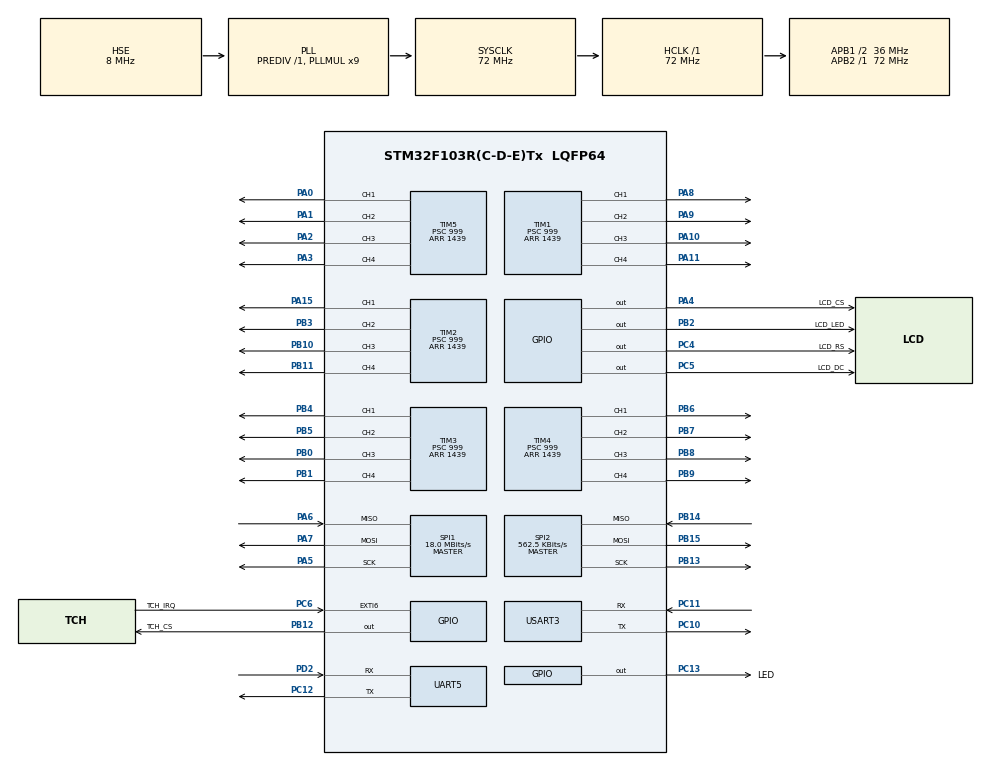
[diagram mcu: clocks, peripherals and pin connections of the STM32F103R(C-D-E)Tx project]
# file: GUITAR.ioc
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Mcu.Family=STM32F1
Mcu.Name=STM32F103R(C-D-E)Tx
Mcu.Package=LQFP64
NVIC.EXTI9_5_IRQn=true\:0\:0\:false\:false\:true\:true\:true\:true
NVIC.PriorityGroup=NVIC_PRIORITYGROUP_4
NVIC.TIM1_UP_IRQn=true\:0\:0\:false\:false\:true\:true\:true\:true
NVIC.TIM2_IRQn=true\:0\:0\:false\:false\:true\:true\:true\:true
NVIC.TIM3_IRQn=true\:0\:0\:false\:false\:true\:true\:true\:true
NVIC.TIM4_IRQn=true\:0\:0\:false\:false\:true\:true\:true\:true
NVIC.TIM5_IRQn=true\:0\:0\:false\:false\:true\:true\:true\:true
NVIC.TIM6_IRQn=true\:15\:0\:false\:false\:true\:false\:true\:true
NVIC.TimeBase=TIM6_IRQn
NVIC.TimeBaseIP=TIM6
NVIC.UART5_IRQn=true\:0\:0\:false\:false\:true\:true\:true\:true
NVIC.USART3_IRQn=true\:0\:0\:false\:false\:true\:true\:true\:true
PA0-WKUP.Signal=S_TIM5_CH1
PA1.Signal=S_TIM5_CH2
PA10.Signal=S_TIM1_CH3
PA11.Signal=S_TIM1_CH4
PA13.Mode=Serial_Wire
PA13.Signal=SYS_JTMS-SWDIO
PA14.Mode=Serial_Wire
PA14.Signal=SYS_JTCK-SWCLK
PA15.Signal=S_TIM2_CH1_ETR
PA2.Signal=S_TIM5_CH3
PA3.Signal=S_TIM5_CH4
PA4.GPIO_Label=LCD_CS
PA4.Signal=GPIO_Output
PA5.Mode=Full_Duplex_Master
PA5.Signal=SPI1_SCK
PA6.Mode=Full_Duplex_Master
PA6.Signal=SPI1_MISO
PA7.Mode=Full_Duplex_Master
PA7.Signal=SPI1_MOSI
PA8.Signal=S_TIM1_CH1
PA9.Signal=S_TIM1_CH2
PB0.Signal=S_TIM3_CH3
PB1.Signal=S_TIM3_CH4
PB10.Signal=S_TIM2_CH3
PB11.Signal=S_TIM2_CH4
PB12.GPIO_Label=TCH_CS
PB12.Signal=GPIO_Output
PB13.Mode=Full_Duplex_Master
PB13.Signal=SPI2_SCK
PB14.Mode=Full_Duplex_Master
PB14.Signal=SPI2_MISO
PB15.Mode=Full_Duplex_Master
PB15.Signal=SPI2_MOSI
PB2.GPIO_Label=LCD_LED
PB2.Signal=GPIO_Output
PB3.Signal=S_TIM2_CH2
PB4.Signal=S_TIM3_CH1
PB5.Signal=S_TIM3_CH2
PB6.Signal=S_TIM4_CH1
PB7.Signal=S_TIM4_CH2
PB8.Signal=S_TIM4_CH3
PB9.Signal=S_TIM4_CH4
PC10.Mode=Asynchronous
PC10.Signal=USART3_TX
PC11.Mode=Asynchronous
PC11.Signal=USART3_RX
PC12.Mode=Asynchronous
PC12.Signal=UART5_TX
PC13-TAMPER-RTC.GPIO_Label=LED
PC13-TAMPER-RTC.Signal=GPIO_Output
PC4.GPIO_Label=LCD_RS
PC4.Signal=GPIO_Output
PC5.GPIO_Label=LCD_DC
PC5.Signal=GPIO_Output
PC6.GPIO_Label=TCH_IRQ
PC6.GPIO_ModeDefaultEXTI=GPIO_MODE_IT_FALLING
PC6.GPIO_PuPd=GPIO_PULLUP
PC6.Signal=GPXTI6
PD0-OSC_IN.Mode=HSE-External-Oscillator
PD0-OSC_IN.Signal=RCC_OSC_IN
PD1-OSC_OUT.Mode=HSE-External-Oscillator
PD1-OSC_OUT.Signal=RCC_OSC_OUT
PD2.Mode=Asynchronous
PD2.Signal=UART5_RX
ProjectManager.HeapSize=0x200
ProjectManager.StackSize=0x400
ProjectManager.TargetToolchain=Makefile
RCC.AHBFreq_Value=72000000
RCC.APB1CLKDivider=RCC_HCLK_DIV2
RCC.APB1Freq_Value=36000000
RCC.APB1TimFreq_Value=72000000
RCC.APB2Freq_Value=72000000
RCC.APB2TimFreq_Value=72000000
RCC.HCLKFreq_Value=72000000
RCC.PLLMUL=RCC_PLL_MUL9
RCC.PLLSourceVirtual=RCC_PLLSOURCE_HSE
RCC.SYSCLKFreq_VALUE=72000000
RCC.SYSCLKSource=RCC_SYSCLKSOURCE_PLLCLK
RCC.USBFreq_Value=72000000
SH.S_TIM1_CH1.0=TIM1_CH1,PWM Generation1 CH1
SH.S_TIM1_CH2.0=TIM1_CH2,PWM Generation2 CH2
SH.S_TIM1_CH3.0=TIM1_CH3,PWM Generation3 CH3
SH.S_TIM1_CH4.0=TIM1_CH4,PWM Generation4 CH4
SH.S_TIM2_CH1_ETR.0=TIM2_CH1,PWM Generation1 CH1
SH.S_TIM2_CH2.0=TIM2_CH2,PWM Generation2 CH2
SH.S_TIM2_CH3.0=TIM2_CH3,PWM Generation3 CH3
SH.S_TIM2_CH4.0=TIM2_CH4,PWM Generation4 CH4
SH.S_TIM3_CH1.0=TIM3_CH1,PWM Generation1 CH1
SH.S_TIM3_CH2.0=TIM3_CH2,PWM Generation2 CH2
SH.S_TIM3_CH3.0=TIM3_CH3,PWM Generation3 CH3
SH.S_TIM3_CH4.0=TIM3_CH4,PWM Generation4 CH4
SH.S_TIM4_CH1.0=TIM4_CH1,PWM Generation1 CH1
SH.S_TIM4_CH2.0=TIM4_CH2,PWM Generation2 CH2
SH.S_TIM4_CH3.0=TIM4_CH3,PWM Generation3 CH3
SH.S_TIM4_CH4.0=TIM4_CH4,PWM Generation4 CH4
SH.S_TIM5_CH1.0=TIM5_CH1,PWM Generation1 CH1
SH.S_TIM5_CH2.0=TIM5_CH2,PWM Generation2 CH2
SH.S_TIM5_CH3.0=TIM5_CH3,PWM Generation3 CH3
SH.S_TIM5_CH4.0=TIM5_CH4,PWM Generation4 CH4
SPI1.BaudRatePrescaler=SPI_BAUDRATEPRESCALER_4
SPI1.CalculateBaudRate=18.0 MBits/s
SPI1.Direction=SPI_DIRECTION_2LINES
SPI1.Mode=SPI_MODE_MASTER
SPI1.VirtualType=VM_MASTER
SPI2.BaudRatePrescaler=SPI_BAUDRATEPRESCALER_64
SPI2.CalculateBaudRate=562.5 KBits/s
SPI2.Direction=SPI_DIRECTION_2LINES
SPI2.Mode=SPI_MODE_MASTER
SPI2.VirtualType=VM_MASTER
TIM1.Channel-PWM\ Generation1\ CH1=TIM_CHANNEL_1
TIM1.Channel-PWM\ Generation2\ CH2=TIM_CHANNEL_2
TIM1.Channel-PWM\ Generation3\ CH3=TIM_CHANNEL_3
TIM1.Channel-PWM\ Generation4\ CH4=TIM_CHANNEL_4
TIM1.Period=1439
TIM1.Prescaler=999
TIM2.Channel-PWM\ Generation1\ CH1=TIM_CHANNEL_1
TIM2.Channel-PWM\ Generation2\ CH2=TIM_CHANNEL_2
TIM2.Channel-PWM\ Generation3\ CH3=TIM_CHANNEL_3
TIM2.Channel-PWM\ Generation4\ CH4=TIM_CHANNEL_4
TIM2.Period=1439
TIM2.Prescaler=999
TIM3.Channel-PWM\ Generation1\ CH1=TIM_CHANNEL_1
TIM3.Channel-PWM\ Generation2\ CH2=TIM_CHANNEL_2
TIM3.Channel-PWM\ Generation3\ CH3=TIM_CHANNEL_3
TIM3.Channel-PWM\ Generation4\ CH4=TIM_CHANNEL_4
TIM3.Period=1439
TIM3.Prescaler=999
TIM4.Channel-PWM\ Generation1\ CH1=TIM_CHANNEL_1
TIM4.Channel-PWM\ Generation2\ CH2=TIM_CHANNEL_2
TIM4.Channel-PWM\ Generation3\ CH3=TIM_CHANNEL_3
TIM4.Channel-PWM\ Generation4\ CH4=TIM_CHANNEL_4
TIM4.Period=1439
TIM4.Prescaler=999
TIM5.Channel-PWM\ Generation1\ CH1=TIM_CHANNEL_1
TIM5.Channel-PWM\ Generation2\ CH2=TIM_CHANNEL_2
TIM5.Channel-PWM\ Generation3\ CH3=TIM_CHANNEL_3
TIM5.Channel-PWM\ Generation4\ CH4=TIM_CHANNEL_4
TIM5.Period=1439
TIM5.Prescaler=999
UART5.VirtualMode=Asynchronous
USART3.VirtualMode=VM_ASYNC
VP_SYS_VS_tim6.Mode=TIM6
VP_TIM1_VS_ClockSourceINT.Mode=Internal
VP_TIM2_VS_ClockSourceINT.Mode=Internal
VP_TIM3_VS_ClockSourceINT.Mode=Internal
VP_TIM4_VS_ClockSourceINT.Mode=Internal
VP_TIM5_VS_ClockSourceINT.Mode=Internal
board=custom

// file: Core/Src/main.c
/* USER CODE BEGIN Header */
/**
  ******************************************************************************
  * @file           : main.c
  * @brief          : Main program body
  ******************************************************************************
  * @attention
  *
  * Copyright (c) 2022 STMicroelectronics.
  * All rights reserved.
  *
  * This software is licensed under terms that can be found in the LICENSE file
  * in the root directory of this software component.
  * If no LICENSE file comes with this software, it is provided AS-IS.
  *
  ******************************************************************************
  */
/* USER CODE END Header */
#include "main.h"
#include "spi.h"
#include "tim.h"
#include "usart.h"
#include "gpio.h"

/* USER CODE BEGIN Includes */
#include "servo.h"
#include "lcd.h"
#include "touch.h"
#include "stdbool.h"
#include "stdlib.h"
#include "stdio.h"
#include "string.h"
/* USER CODE END Includes */

/* USER CODE BEGIN PV */

/* Bài 1: Một nhà */
uint32_t Bai1[] = {
  0b00011111000000010000001000000010,
  0b00100001000000100010010000000000,
  0b00111110000000000000001100000010, ///////
  0b00110001000000001000000100000010,
  0b00101101000000010000001000000000,
  0b00101001000000000000000000000000,
  0b00101000000000000000000000000000,
  0b00101001000000000000000000000000,
  0b00101000000000000000000000000000,
  0b00101010000000000000000000000010,
  0b00000100000000100000000000000000,
  0b00000110000000000000000000000000,
  0b00000100000000000000000000000000,
  0b00000000000000000010000000000000, ////
  0b00000010000000000000000000000010,
  0b00000000000000000000000000000000,
  0b00000010000000000000000000000000,
  0b00010100000000000000000010000000,
  0b00010000000000000000000100000000,
  0b00010010000000000000000000000010,
  0b00010000000000000000000000000010,
  0b00010010000000000000000000000010,
  0b00010110000000000000000000000000,
  0b00011010000000001000000100000000,
  0b00011000000000000000000000000010,
  0b00011100000000000000000010000000,
  0b00011101000000000000000000000000,
  0b00011100000000000000000000000000,
  0b00011110000000000010000000000000,
  // 0b00011100000000000000000000000010,
  // 0b00001010000000010000000000000010,
  // 0b00000010000000000000001000000000,
  // 0b00000110000000000000000000000000,
  // 0b00000111000000000000000000000000,
  // 0b00000110000000000000000000000000,
  // 0b00000111000000000000000000000000,
  // 0b00000101000000000000000000000010,
  // 0b00101011000000100000000000000000,
  // 0b00101001000000000000000000000000,
  // 0b00100001000000000000000000000000,
  // 0b00100011000000000010000000000000,
  // 0b00100001000000000010000000000000,
  // 0b00100011000000000010000000000000,
  // 0b00100001000000000010000000000000,
  // 0b00110010000000000000000000000010,
  // 0b00110011000000000001000000000000,
  // 0b00110010000000000000000000000000,
  // 0b00111010000000000000001000000000,
  // 0b00111011000000000000000000000000,
  // 0b00111010000000000000000000000000,
  // 0b00111000000000000000000000000010,
  // 0b00111100000000000000000000000000,
  // 0b00110100000000001000000000000000,
  // 0b00110000000000000000000100000000,
  // 0b00110001000000000000000000000000,
  // 0b00110011000000000010000000000000,
  // 0b00110001000000000010000000000000,
  // 0b00110011000000000000000000000010,
  // 0b00101101000000010000001000000010,
  // 0b00111101000000010000000000000000,///
  // 0b00110101000000000000001000000000,
  // 0b00111101000000000000001000000000, //
  // 0b00110101000000000000001000000000,
  // 0b00111101000000000000001000000000,
  // 0b00110101000000000000001000000000,
  // 0b00111101000000000000000000000000,
  // 0b00010101000000100000000000000000,
  // 0b00110101000000100000000000000000,
  // 0b00111101000000000000000000000000,
  // 0b00101101000000010000000000000000,
  // 0b00101001000000000000000000000000,
  // 0b00101101000000000000000000000000,
  // 0b00100101000000000000001000000000,
  // 0b00110101000000010000000000000000,
  // 0b00000101000000000000000000000000,
  // 0b00010101000000000000000000000000,
  // 0b00011101000000000000000000000000,
  // 0b00010101000000000000001000000000,
  // 0b00011101000000000000000000000000,
  // 0b00010101000000000000000000000000,
  // 0b00011101000000000000001000000000,
  // 0b00010101000000000000000000000000,
  // 0b00000101000000010000000000000000,
  // 0b00101101000000000000001000100000,
  // 0b00100101000000001000000000000000,
  // 0b00101101000000000000001000000000,
  // 0b00100101000000000000001000000000,
  // 0b00110101000000000000010000000000,
  // 0b00100101000000010000000000000000,
  // 0b00110101000000010000000000000000,
  // 0b00100101010000000000000000000000,
  // 0b00111011000000010000001000000010,
  // 0b00101011000000010000000000000000,
  // 0b00100011000000000000001000000000,
  // 0b00101011000000000000001000000000,
  // 0b00100011000000000000001000000000,
  // 0b00101011000000000000001000000000,
  // 0b00100011000000000000001000000000,
  // 0b00101011000000000000000000000000,
  // 0b00000011000000100000000000000000,
  // 0b00100011000000100000000000000000,
  // 0b00101011000000000000000000000000,
  // 0b00100011000000000000000000000000,
  // 0b00100111000000000000000000000000,
  // 0b00100011000000000000000000000000,
  // 0b00100111000000000000000100000000,
  // 0b00100011000000000000000000000000,
  // 0b00100111000000000000000100000000,
  // 0b00001111100000000000001000000000,
  // 0b00001011000000000000000000000000,
  // 0b00011011000000010000000000000000
};

// /* Bài 2: Love story */
// uint32_t Bai2[] =
// {
//   0b00001000001000000000000000000000,
//   0b00001100000000000000000100000000,
//   0b00001101000000000000000000000000,
//   0b00001111000000000010000000000000,
//   0b00001110000000000000000000000000,
//   0b00001100000000000010000000000000,
//   0b00001000000000000000000100000000,
//   0b00001010000000000010000000000000,
//   0b00000010001000000000000000000000,
//   0b00000110000000000000000100000000,
//   0b00000111000000000000000000000000,
//   0b00000101000000000010000000000000,
//   0b00000100000000000000000000000000,
//   0b00000000000000000010000000000000,
//   0b00000100000000000000000100000000,
//   0b00000110000000000010000000000000,
//   0b00001110000000000000001000000000,
//   0b00001010000000000000000100000000,
//   0b00001011000000000000000000000000,
//   0b00001001000000000010000000000000,
//   0b00001000000000000000000000000000,
//   0b00001010000000000010000000000000,
//   0b00001110000000000000000100000000,
//   0b00001100000000000010000000000000,
//   0b00000100000000000000001000000000,
//   0b00000000000000000000000100000000,
//   0b00000001000000000000000000000000,
//   0b00000011000000000010000000000000,
//   0b00000010000000000000000000000000,
//   0b00000000000000000010000000000000,
//   0b00000100000000000000000100000000,
//   0b00000110000000000010000000000000,
//   0b00001110001000000000000000000000,
//   0b00001010000100000000000000000000,
//   0b00001011000000000000000000000000,
//   0b00001001000000000010000000000000,
//   0b00001000000000000000000000000000,
//   0b00001010000000000010000000000000,
//   0b00001110000000000000000100000000,
//   0b00001100000000000010000000000000,
//   0b00000100001000000000000000000000,
//   0b00000000000100000000000000000000,
//   0b00000001000000000000000000000000,
//   0b00000011000000000010000000000000,
//   0b00000010000000000000000000000000,
//   0b00000000000000000010000000000000,
//   0b00000100000000000000000100000000,
//   0b00000110000000000010000000000000,
//   0b00010110000000000000000000010000, //// not danh o khoang 5 ...
//   0b00010010000000000000000100000000,
//   0b00010011000000000000000000000000,
//   0b00010001000000000010000000000000,
//   0b00010000000000000000000000000000,
//   0b00010010000000000010000000000000,
//   0b00010110000100000000000000000000,
//   0b00010100000000000010000000000000,
//   0b00000100000000000000000000010000,
//   0b00000000000000000000000100000000,
//   0b00000001000000000000000000000000,
//   0b00000011000000000010000000000000,
//   0b00000010000000000000000000000000,
//   0b00000000000000000010000000000000,
//   0b00000100000100000000000000000000,
//   0b00000110000000000010000000000000,
//   0b00001100000000000010000000000000,
//   0b00001000000000000000000100000000,
//   0b00001010000000000010000000000000,
//   0b00001110000000000000000100000000,
//   0b00000100000000000010000000000000,
//   0b00000000000000000000000100000000,
//   0b00000010000000000010000000000000,
//   0b00001000000000000000000010000000,
//   0b00001010000000000010000000000000,
//   0b00001110000000000000000100000000,
//   0b00001111000000000000000000000000,
//   0b00000111000000000000000000000000,
//   0b00000101000000000010000000000000,
//   0b00000001000000000000000100000000,
//   0b00000011000000000010000000000000,
//   0b00100001000000100000000010000000,
//   0b00100011000000000010000000000000,
//   0b00100111000000000000000000000000,
//   0b00100101000000000010000000000000,
//   0b00000101000000100000000000000000,
//   0b00000001000000000000000000000000,
//   0b00000011000000000010000000000000,
//   0b00000001000000000010000000000000,
//   0b00100011000000100000000010000000,
//   0b00100001000000000010000000000000,
//   0b00100101000000000000000100000000,
//   0b00100100000000000000000000000000,
//   0b00000100000000100000000000000000,
//   0b00000110000000000010000000000000,
//   0b00000100000000000000000010000000,
//   0b00000110000000000010000000000000,
//   0b00010100000000000000010000000000,
//   0b00011100001000000000000000000000,
//   0b00011101000000000000000000000000,
//   0b00011111000000000010000000000000,
//   0b00011110000000000000000000000000,
//   0b00011100000000000010000000000000,
//   0b00011000000100000000000000000000,
//   0b00011010000000000010000000000000, // tamj hets o thu 13
// };

uint32_t const Song0[] = {
  //----654321654321654321654321654321
    0b00000000000000000000000000000000,
    0b00000001000000000000000000000000,
    0b00000000000000000000000000000001,
    0b00000001000000000000000000000100,
    0b00000011000000000010000000000000,
  //----654321654321654321654321654321
    0b00000111000000000000000000000000,
    0b00001111000000000000000000000000,
    0b00011111000000000000000000010000,
    0b00111111000000000000000000000000,
    0b00011111000000100000000000000000,
  //----654321654321654321654321654321
    0b00000000000000000000000000000000,
    0b00111010000000000000000100010000,
    0b00101100000000010000000010000000,
    0b00110111000000000000000100010100,
    0b00010010000000000100000000000001,
  //----654321654321654321654321654321
    0b00000000000000000000000000000000,
    0b00101001000000100000000000000100,
    0b00101011000000000000000000000000,
    0b00111001000000000000000001000000,
    0b00101011000000000000000100010000,

  //----654321654321654321654321654321    new from Truong with love
    0b00100011000000001000000000000000,
    0b00000111000000000100000000100000,
    0b00010111000000000000010000000000,
    0b00010101000000000000000010000000,
    0b00110001000000000000000000100100,
  //----654321654321654321654321654321
    0b00111001000000000000000000000000,
    0b00111000000000000001000000000000,
    0b00101000000000000000010000000000,
    0b00010000000000100000010000001000,
    0b00010101000000000101000000000000,
  //----654321654321654321654321654321
    0b00000101000000000000000000000000,
    0b00100101000000100000000000000000,
    0b00110101000000000000010000000000,
    0b00110001000000000000000000000100,
    0b00111011000000001000000010000000,
  //----654321654321654321654321654321
    0B00101011000000000000000000010000,
    0b00101111000000000000000000000100,
    0b00101101000000000010000000000000,
    0b00101001000000000100000000000000,
    0b00100000000000001000000000000001,
  //----654321654321654321654321654321
    0b00110000000000000000010000000000,
    0b00010000000000000000000000100000,
    0b00000000000000000000000000000000,
    0b00000010000000000000000010000000,
    0b00011010000000001000000000010000,
  //----654321654321654321654321654321
    0b00111010000000000000000000000000,
    0b00111110000000000000000000000100,
    0b00111111000000000001000000000000,
    0b00111011000000000000000000000100,
    0b00101011000000000000010000000000,
  //----654321654321654321654321654321
    0b00100011000000000000000000000000,
    0b00100010000000100000000000000000,
    0b00100110000000000100000000000000,
    0b00110110000000010000000000000000,
    0b00111111000000001000000000000001
};

/* Define for 6 servo gay */
servo_t servo_w_1 = {
    &htim1,
    TIM_CHANNEL_1
  };
servo_t servo_w_2 = {
    &htim1,
    TIM_CHANNEL_2
  };
servo_t servo_w_3 = {
    &htim1,
    TIM_CHANNEL_3
  };
servo_t servo_w_4 = {
    &htim1,
    TIM_CHANNEL_4
  };
servo_t servo_w_5 = {
    &htim2,
    TIM_CHANNEL_1
  };
servo_t servo_w_6 = {
    &htim2,
    TIM_CHANNEL_2
  };

/*Define for 24 servo nhan */

// Khoang 1
servo_t servo_k_1_1 = {
  &htim2,
  TIM_CHANNEL_4
};
servo_t servo_k_1_2 = {
  &htim2,
  TIM_CHANNEL_3
};
servo_t servo_k_1_3 = {
  &htim3,
  TIM_CHANNEL_4
};
servo_t servo_k_1_4 = {
  &htim3,
  TIM_CHANNEL_3
};
servo_t servo_k_1_5 = {
  &htim3,
  TIM_CHANNEL_2
};
servo_t servo_k_1_6 = {
  &htim3,
  TIM_CHANNEL_1
};

// Khoang 2
servo_t servo_k_2_1 = {
  &htim5,
  TIM_CHANNEL_2
};
servo_t servo_k_2_2 = {
  &htim5,
  TIM_CHANNEL_1
};
servo_t servo_k_2_3 = {
  &htim4,
  TIM_CHANNEL_4
};
servo_t servo_k_2_4 = {
  &htim4,
  TIM_CHANNEL_3
};
servo_t servo_k_2_5 = {
  &htim4,
  TIM_CHANNEL_2
};
servo_t servo_k_2_6 = {
  &htim4,
  TIM_CHANNEL_1
};

uint8_t RX3_CHAR = '\0';
int RX3_INX = 0;
uint8_t RX3_BUF[10] = {0};
uint8_t RX3_DATA = '\0';
volatile bool isCommand_OK = true;

uint32_t timeLoop0 = 200;
uint32_t timeLoop1 = 500;
uint32_t timeLoop2 = 1000;
uint32_t timeLoop3 = 1000;

/* USER CODE END PV */

void SystemClock_Config(void);
/* USER CODE BEGIN PFP */

void setupServo(void);
void resetServo(void);

void K1_test(void);
void K2_test(void);
void K3_test(void);
void K4_test(void);

void W_test(void);

void Song0_test(void);

void Song1_test(void);

void playSong(const uint32_t* Song, uint32_t len);

void HAL_UART_RxCpltCallback(UART_HandleTypeDef *huart)
{
  if (huart == &huart3)
  {
    if (RX3_CHAR != '\0')
    {
      RX3_BUF[RX3_INX++] = RX3_CHAR;
      if (RX3_CHAR == 0x03)
      {
        RX3_DATA = RX3_BUF[RX3_INX - 2];
        RX3_INX = 0;
        RX3_CHAR = '\0';
        memset(RX3_BUF, '\0', sizeof(RX3_BUF));
        isCommand_OK = true;
      }
      RX3_CHAR = '\0';
    }
  }
  HAL_UART_Receive_IT(&huart3, &RX3_CHAR, 1);
}

void HAL_GPIO_EXTI_Callback(uint16_t GPIO_Pin)
{
  if (GPIO_Pin == TCH_IRQ_Pin)
  {

  }
}

/* USER CODE END PFP */

/* USER CODE BEGIN 0 */
bool sendCommand(uint8_t fret, uint8_t wire, uint8_t state)
{
  uint8_t data2send[3];
  data2send[0] = 0xC0;
  data2send[1] = (uint8_t)((fret << 4) | (state << 3) | wire);
  data2send[2] = 0x03;
  RX3_CHAR = '\0';
  isCommand_OK = false;

  HAL_UART_Transmit(&huart3, data2send, 3, 200);

  uint32_t TickStart = HAL_GetTick();
  while (!((isCommand_OK == true) && (RX3_DATA == data2send[1])) && ((HAL_GetTick() - TickStart) <= 2000));

  if (RX3_DATA != data2send[1])
  {
    return false;
  }
  return true;
}
/* USER CODE END 0 */

int main(void)
{

  /* MCU Configuration--------------------------------------------------------*/

  /* Reset of all peripherals, Initializes the Flash interface and the Systick. */
  HAL_Init();

  /* Configure the system clock */
  SystemClock_Config();

  /* Initialize all configured peripherals */
  MX_GPIO_Init();
  MX_SPI1_Init();
  MX_SPI2_Init();
  MX_TIM1_Init();
  MX_TIM2_Init();
  MX_TIM3_Init();
  MX_TIM4_Init();
  MX_TIM5_Init();
  MX_UART5_Init();
  MX_USART3_UART_Init();
  /* USER CODE BEGIN 2 */
  HAL_UART_Receive_IT(&huart3, &RX3_CHAR, 1);

  // ILI9341_Unselect();
  // ILI9341_TouchUnselect();
  // ILI9341_Init();
  // ILI9341_FillScreen(ILI9341_BLACK);

  // HAL_Delay(500);

  // ILI9341_FillScreen(ILI9341_WHITE);

  setupServo();

  /* USER CODE END 2 */

  /* Infinite loop */
  while (1)
  {

    /* USER CODE BEGIN 3 */

      // W_test();

      // K1_test();

      // K2_test();

      // K3_test();

      // K4_test();

      // Song0_test();

      // Song1_test();

      playSong(Song0, sizeof(Song0) / sizeof(uint32_t));

      HAL_Delay(timeLoop3);

      resetServo();

      HAL_Delay(timeLoop3);

  }
  /* USER CODE END 3 */
}

void SystemClock_Config(void)
{
  RCC_OscInitTypeDef RCC_OscInitStruct = {0};
  RCC_ClkInitTypeDef RCC_ClkInitStruct = {0};

  /** Initializes the RCC Oscillators according to the specified parameters
  * in the RCC_OscInitTypeDef structure.
  */
  RCC_OscInitStruct.OscillatorType = RCC_OSCILLATORTYPE_HSE;
  RCC_OscInitStruct.HSEState = RCC_HSE_ON;
  RCC_OscInitStruct.HSEPredivValue = RCC_HSE_PREDIV_DIV1;
  RCC_OscInitStruct.HSIState = RCC_HSI_ON;
  RCC_OscInitStruct.PLL.PLLState = RCC_PLL_ON;
  RCC_OscInitStruct.PLL.PLLSource = RCC_PLLSOURCE_HSE;
  RCC_OscInitStruct.PLL.PLLMUL = RCC_PLL_MUL9;
  if (HAL_RCC_OscConfig(&RCC_OscInitStruct) != HAL_OK)
  {
    Error_Handler();
  }

  /** Initializes the CPU, AHB and APB buses clocks
  */
  RCC_ClkInitStruct.ClockType = RCC_CLOCKTYPE_HCLK|RCC_CLOCKTYPE_SYSCLK
                              |RCC_CLOCKTYPE_PCLK1|RCC_CLOCKTYPE_PCLK2;
  RCC_ClkInitStruct.SYSCLKSource = RCC_SYSCLKSOURCE_PLLCLK;
  RCC_ClkInitStruct.AHBCLKDivider = RCC_SYSCLK_DIV1;
  RCC_ClkInitStruct.APB1CLKDivider = RCC_HCLK_DIV2;
  RCC_ClkInitStruct.APB2CLKDivider = RCC_HCLK_DIV1;

  if (HAL_RCC_ClockConfig(&RCC_ClkInitStruct, FLASH_LATENCY_2) != HAL_OK)
  {
    Error_Handler();
  }
}

/* USER CODE BEGIN 4 */

void resetServo(void)
{
  Set_servo_xp(&servo_w_1, W1_S1);
  Set_servo_xp(&servo_w_2, W2_S1);
  Set_servo_xp(&servo_w_3, W3_S1);
  Set_servo_xp(&servo_w_4, W4_S1);
  Set_servo_xp(&servo_w_5, W5_S1);
  Set_servo_xp(&servo_w_6, W6_S1);

  Set_servo_xp(&servo_k_1_1, K1_W1_RELEASE);
  Set_servo_xp(&servo_k_1_2, K1_W2_RELEASE);
  Set_servo_xp(&servo_k_1_3, K1_W3_RELEASE);
  Set_servo_xp(&servo_k_1_4, K1_W4_RELEASE);
  Set_servo_xp(&servo_k_1_5, K1_W5_RELEASE);
  Set_servo_xp(&servo_k_1_6, K1_W6_RELEASE);

  Set_servo_xp(&servo_k_2_1, K2_W1_RELEASE);
  Set_servo_xp(&servo_k_2_2, K2_W2_RELEASE);
  Set_servo_xp(&servo_k_2_3, K2_W3_RELEASE);
  Set_servo_xp(&servo_k_2_4, K2_W4_RELEASE);
  Set_servo_xp(&servo_k_2_5, K2_W5_RELEASE);
  Set_servo_xp(&servo_k_2_6, K2_W6_RELEASE);

  while(sendCommand(K3, W1, 0) == false);
  while(sendCommand(K3, W2, 0) == false);
  while(sendCommand(K3, W3, 0) == false);
  while(sendCommand(K3, W4, 0) == false);
  while(sendCommand(K3, W5, 0) == false);
  while(sendCommand(K3, W6, 0) == false);

}

void setupServo(void)
{
  Servo_Init(&servo_w_1, servo_w_1.htim, servo_w_1.channel);
  Set_servo_xp(&servo_w_1, W1_S1);
  Servo_Init(&servo_w_2, servo_w_2.htim, servo_w_2.channel);
  Set_servo_xp(&servo_w_2, W2_S1);
  Servo_Init(&servo_w_3, servo_w_3.htim, servo_w_3.channel);
  Set_servo_xp(&servo_w_3, W3_S1);
  Servo_Init(&servo_w_4, servo_w_4.htim, servo_w_4.channel);
  Set_servo_xp(&servo_w_4, W4_S1);
  Servo_Init(&servo_w_5, servo_w_5.htim, servo_w_5.channel);
  Set_servo_xp(&servo_w_5, W5_S1);
  Servo_Init(&servo_w_6, servo_w_6.htim, servo_w_6.channel);
  Set_servo_xp(&servo_w_6, W6_S1);

  Servo_Init(&servo_k_1_1, servo_k_1_1.htim, servo_k_1_1.channel);
  Set_servo_xp(&servo_k_1_1, K1_W1_RELEASE);
  Servo_Init(&servo_k_1_2, servo_k_1_2.htim, servo_k_1_2.channel);
  Set_servo_xp(&servo_k_1_2, K1_W2_RELEASE);
  Servo_Init(&servo_k_1_3, servo_k_1_3.htim, servo_k_1_3.channel);
  Set_servo_xp(&servo_k_1_3, K1_W3_RELEASE);
  Servo_Init(&servo_k_1_4, servo_k_1_4.htim, servo_k_1_4.channel);
  Set_servo_xp(&servo_k_1_4, K1_W4_RELEASE);
  Servo_Init(&servo_k_1_5, servo_k_1_5.htim, servo_k_1_5.channel);
  Set_servo_xp(&servo_k_1_5, K1_W5_RELEASE);
  Servo_Init(&servo_k_1_6, servo_k_1_6.htim, servo_k_1_6.channel);
  Set_servo_xp(&servo_k_1_6, K1_W6_RELEASE);

  Servo_Init(&servo_k_2_1, servo_k_2_1.htim, servo_k_2_1.channel);
  Set_servo_xp(&servo_k_2_1, K2_W1_RELEASE);
  Servo_Init(&servo_k_2_2, servo_k_2_2.htim, servo_k_2_2.channel);
  Set_servo_xp(&servo_k_2_2, K2_W2_RELEASE);
  Servo_Init(&servo_k_2_3, servo_k_2_3.htim, servo_k_2_3.channel);
  Set_servo_xp(&servo_k_2_3, K2_W3_RELEASE);
  Servo_Init(&servo_k_2_4, servo_k_2_4.htim, servo_k_2_4.channel);
  Set_servo_xp(&servo_k_2_4, K2_W4_RELEASE);
  Servo_Init(&servo_k_2_5, servo_k_2_5.htim, servo_k_2_5.channel);
  Set_servo_xp(&servo_k_2_5, K2_W5_RELEASE);
  Servo_Init(&servo_k_2_6, servo_k_2_6.htim, servo_k_2_6.channel);
  Set_servo_xp(&servo_k_2_6, K2_W6_RELEASE);
}

void K1_test(void)
{

  Set_servo_xp(&servo_k_1_1, K1_W1_PRESS);
  HAL_Delay(timeLoop1);
  Set_servo_xp(&servo_k_1_1, K1_W1_RELEASE);
  HAL_Delay(timeLoop2);

  Set_servo_xp(&servo_k_1_2, K1_W2_PRESS);
  HAL_Delay(timeLoop1);
  Set_servo_xp(&servo_k_1_2, K1_W2_RELEASE);
  HAL_Delay(timeLoop2);

  Set_servo_xp(&servo_k_1_3, K1_W3_PRESS);
  HAL_Delay(timeLoop1);
  Set_servo_xp(&servo_k_1_3, K1_W3_RELEASE);
  HAL_Delay(timeLoop2);

  Set_servo_xp(&servo_k_1_4, K1_W4_PRESS);
  HAL_Delay(timeLoop1);
  Set_servo_xp(&servo_k_1_4, K1_W4_RELEASE);
  HAL_Delay(timeLoop2);

  Set_servo_xp(&servo_k_1_5, K1_W5_PRESS);
  HAL_Delay(timeLoop1);
  Set_servo_xp(&servo_k_1_5, K1_W5_RELEASE);
  HAL_Delay(timeLoop2);

  Set_servo_xp(&servo_k_1_6, K1_W6_PRESS);
  HAL_Delay(timeLoop1);
  Set_servo_xp(&servo_k_1_6, K1_W6_RELEASE);
  HAL_Delay(timeLoop2);

}

void K2_test(void)
{

  Set_servo_xp(&servo_k_2_1, K2_W1_PRESS);
  HAL_Delay(timeLoop1);
  Set_servo_xp(&servo_k_2_1, K2_W1_RELEASE);
  HAL_Delay(timeLoop2);

  Set_servo_xp(&servo_k_2_2, K2_W2_PRESS);
  HAL_Delay(timeLoop1);
  Set_servo_xp(&servo_k_2_2, K2_W2_RELEASE);
  HAL_Delay(timeLoop2);

  Set_servo_xp(&servo_k_2_3, K2_W3_PRESS);
  HAL_Delay(timeLoop1);
  Set_servo_xp(&servo_k_2_3, K2_W3_RELEASE);
  HAL_Delay(timeLoop2);

  Set_servo_xp(&servo_k_2_4, K2_W4_PRESS);
  HAL_Delay(timeLoop1);
  Set_servo_xp(&servo_k_2_4, K2_W4_RELEASE);
  HAL_Delay(timeLoop2);

  Set_servo_xp(&servo_k_2_5, K2_W5_PRESS);
  HAL_Delay(timeLoop1);
  Set_servo_xp(&servo_k_2_5, K2_W5_RELEASE);
  HAL_Delay(timeLoop2);

  Set_servo_xp(&servo_k_2_6, K2_W6_PRESS);
  HAL_Delay(timeLoop1);
  Set_servo_xp(&servo_k_2_6, K2_W6_RELEASE);
  HAL_Delay(timeLoop2);

}

void K3_test(void)
{

  while(sendCommand(K3, W1, 1) == false);
  HAL_Delay(timeLoop1);
  while(sendCommand(K3, W1, 0) == false);
  HAL_Delay(timeLoop1);
  while(sendCommand(K3, W2, 1) == false);
  HAL_Delay(timeLoop1);
  while(sendCommand(K3, W2, 0) == false);
  HAL_Delay(timeLoop1);
  while(sendCommand(K3, W3, 1) == false);
  HAL_Delay(timeLoop1);
  while(sendCommand(K3, W3, 0) == false);
  HAL_Delay(timeLoop1);
  while(sendCommand(K3, W4, 1) == false);
  HAL_Delay(timeLoop1);
  while(sendCommand(K3, W4, 0) == false);
  HAL_Delay(timeLoop1);
  while(sendCommand(K3, W5, 1) == false);
  HAL_Delay(timeLoop1);
  while(sendCommand(K3, W5, 0) == false);
  HAL_Delay(timeLoop1);
  while(sendCommand(K3, W6, 1) == false);
  HAL_Delay(timeLoop1);
  while(sendCommand(K3, W6, 0) == false);
  HAL_Delay(timeLoop1);

}

void K4_test(void)
{

  while(sendCommand(K4, W1, 1) == false);
  HAL_Delay(timeLoop1);
  while(sendCommand(K4, W1, 0) == false);
  HAL_Delay(timeLoop1);
  while(sendCommand(K4, W2, 1) == false);
  HAL_Delay(timeLoop1);
  while(sendCommand(K4, W2, 0) == false);
  HAL_Delay(timeLoop1);
  while(sendCommand(K4, W3, 1) == false);
  HAL_Delay(timeLoop1);
  while(sendCommand(K4, W3, 0) == false);
  HAL_Delay(timeLoop1);
  while(sendCommand(K4, W4, 1) == false);
  HAL_Delay(timeLoop1);
  while(sendCommand(K4, W4, 0) == false);
  HAL_Delay(timeLoop1);
  while(sendCommand(K4, W5, 1) == false);
  HAL_Delay(timeLoop1);
  while(sendCommand(K4, W5, 0) == false);
  HAL_Delay(timeLoop1);
  while(sendCommand(K4, W6, 1) == false);
  HAL_Delay(timeLoop1);
  while(sendCommand(K4, W6, 0) == false);
  HAL_Delay(timeLoop1);

}

void W_test(void)
{
  Set_servo_xp(&servo_w_1, W1_S1);
  HAL_Delay(timeLoop1);
  Set_servo_xp(&servo_w_2, W2_S1);
  HAL_Delay(timeLoop1);
  Set_servo_xp(&servo_w_3, W3_S1);
  HAL_Delay(timeLoop1);
  Set_servo_xp(&servo_w_4, W4_S1);
  HAL_Delay(timeLoop1);
  Set_servo_xp(&servo_w_5, W5_S1);
  HAL_Delay(timeLoop1);
  Set_servo_xp(&servo_w_6, W6_S1);

  HAL_Delay(timeLoop3);

  Set_servo_xp(&servo_w_1, W1_S2);
  HAL_Delay(timeLoop1);
  Set_servo_xp(&servo_w_2, W2_S2);
  HAL_Delay(timeLoop1);
  Set_servo_xp(&servo_w_3, W3_S2);
  HAL_Delay(timeLoop1);
  Set_servo_xp(&servo_w_4, W4_S2);
  HAL_Delay(timeLoop1);
  Set_servo_xp(&servo_w_5, W5_S2);
  HAL_Delay(timeLoop1);
  Set_servo_xp(&servo_w_6, W6_S2);

  HAL_Delay(timeLoop3);
}

void Song0_test(void)
{

  /* test */
  setupServo();

  while(sendCommand(K3, W2, 1) == false);
  HAL_Delay(timeLoop1);
  Set_servo_xp(&servo_w_2, W2_S2);
  HAL_Delay(timeLoop1);
  while(sendCommand(K3, W2, 0) == false);
  HAL_Delay(timeLoop1);

  Set_servo_xp(&servo_w_3, W3_S2);
  HAL_Delay(timeLoop1);

  Set_servo_xp(&servo_k_2_3, K2_W3_PRESS);
  HAL_Delay(timeLoop1);
  Set_servo_xp(&servo_w_3, W3_S1);
  HAL_Delay(timeLoop1);
  Set_servo_xp(&servo_k_2_3, K2_W3_RELEASE);
  HAL_Delay(timeLoop1);

  while(sendCommand(K3, W3, 1) == false);
  HAL_Delay(timeLoop1);
  Set_servo_xp(&servo_w_3, W3_S2);
  HAL_Delay(timeLoop1);
  while(sendCommand(K3, W3, 0) == false);
  HAL_Delay(timeLoop1);

  Set_servo_xp(&servo_w_4, W4_S2);
  HAL_Delay(timeLoop1);

  Set_servo_xp(&servo_k_2_4, K1_W4_PRESS);
  HAL_Delay(timeLoop1);
  Set_servo_xp(&servo_w_4, W4_S1);
  HAL_Delay(timeLoop1);
  Set_servo_xp(&servo_k_2_4, K1_W4_RELEASE);
  HAL_Delay(timeLoop1);

  Set_servo_xp(&servo_w_5, W5_S2);
  HAL_Delay(timeLoop1);

  Set_servo_xp(&servo_k_1_5, K1_W5_PRESS);
  HAL_Delay(timeLoop1);
  Set_servo_xp(&servo_w_5, W5_S1);
  HAL_Delay(timeLoop1);
  Set_servo_xp(&servo_k_1_5, K1_W5_RELEASE);
  HAL_Delay(timeLoop1);

  while(sendCommand(K3, W5, 1) == false);
  HAL_Delay(timeLoop1);
  Set_servo_xp(&servo_w_5, W5_S2);
  HAL_Delay(timeLoop1);
  while(sendCommand(K3, W5, 0) == false);
  HAL_Delay(timeLoop1);

  Set_servo_xp(&servo_w_6, W6_S2);
  HAL_Delay(timeLoop1);

  setupServo();
}

void Song1_test(void)
{
  for(uint8_t i = 0; i < sizeof(Bai1) / sizeof(int); i++)
  {
    uint32_t bit = Bai1[i];

    // check khoang 1
    if((bit & 0x0000001) == 0) Set_servo_xp(&servo_k_1_1, K1_W1_RELEASE);            // bit 1 trong not nhac
    else Set_servo_xp(&servo_k_1_1, K1_W1_PRESS);

    // if(((bit >> 1) & 0x00000001)) Set_servo_xp(&servo_k_1_2, K1_W2_RELEASE);
    // else Set_servo_xp(&servo_k_1_2, K1_W2_PRESS);

    if(((bit >> 2) & 0x00000001) == 0) Set_servo_xp(&servo_k_1_3, K1_W3_RELEASE);
    else Set_servo_xp(&servo_k_1_3, K1_W3_PRESS);

    // if(((bit >> 3) & 0x00000001)) Set_servo_xp(&servo_k_1_4, K1_W4_RELEASE);
    // else Set_servo_xp(&servo_k_1_4, K1_W4_PRESS);

    if(((bit >> 4) & 0x00000001) == 0) Set_servo_xp(&servo_k_1_5, K1_W5_RELEASE);
    else Set_servo_xp(&servo_k_1_5, K1_W5_PRESS);

    if(((bit >> 5) & 0x00000001)) Set_servo_xp(&servo_k_1_6, K1_W6_RELEASE);
    else Set_servo_xp(&servo_k_1_6, K1_W6_PRESS);

    // check khoang 2
    if(((bit >> 6) & 0x00000001) == 0) Set_servo_xp(&servo_k_2_1, K2_W1_RELEASE);
    else Set_servo_xp(&servo_k_2_1, K2_W1_PRESS);

    if(((bit >> 7) & 0x00000001) == 0) Set_servo_xp(&servo_k_2_2, K2_W2_RELEASE);
    else Set_servo_xp(&servo_k_2_2, K2_W2_PRESS);

    // if(((bit >> 8) & 0x00000001)) Set_servo_xp(&servo_k_2_3, K2_W3_RELEASE);
    // else Set_servo_xp(&servo_k_2_3, K2_W3_PRESS);

    // if(((bit >> 9) & 0x00000001)) Set_servo_xp(&servo_k_2_4, K2_W4_RELEASE);
    // else Set_servo_xp(&servo_k_2_4, K2_W4_PRESS);

    if(((bit >> 10) & 0x00000001) == 0) Set_servo_xp(&servo_k_2_5, K2_W5_RELEASE);
    else Set_servo_xp(&servo_k_2_5, K2_W5_PRESS);

    // if(((bit >> 11) & 0x00000001)) Set_servo_xp(&servo_k_2_6, K2_W6_RELEASE);
    // else Set_servo_xp(&servo_k_2_6, K2_W6_PRESS);

    // check khoang 3
    if(((bit >> 12) & 0x00000001) == 0)
    {
      while(sendCommand(K3, W1, 0) == false);
    }
    else
    {
      while(sendCommand(K3, W1, 1) == false);
    }
    if(((bit >> 13) & 0x00000001) == 0)
    {
      while(sendCommand(K3, W2, 0) == false);
    }
    else
    {
      while(sendCommand(K3, W2, 1) == false);
    }
    if(((bit >> 14) & 0x00000001) == 0)
    {
      while(sendCommand(K3, W3, 0) == false);
    }
    else
    {
      while(sendCommand(K3, W3, 1) == false);
    }
    if(((bit >> 15) & 0x00000001) == 0)
    {
      while(sendCommand(K3, W4, 0) == false);
    }
    else
    {
      while(sendCommand(K3, W4, 1) == false);
    }
    if(((bit >> 16) & 0x00000001) == 0)
    {
      while(sendCommand(K3, W5, 0) == false);
    }
    else
    {
      while(sendCommand(K3, W5, 1) == false);
    }
    if(((bit >> 17) & 0x00000001) == 0)
    {
      while(sendCommand(K3, W6, 0) == false);
    }
    else
    {
      while(sendCommand(K3, W6, 1) == false);
    }

    // //check khoang 4
    // if(((bit >> 18) & 0x00000001) == 0)
    // {
    //   while(sendCommand(K4, W1, 0) == false);
    // }
    // else
    // {
    //   while(sendCommand(K4, W1, 1) == false);
    // }
    // if(((bit >> 19) & 0x00000001) == 0)
    // {
    //   while(sendCommand(K4, W2, 0) == false);
    // }
    // else
    // {
    //   while(sendCommand(K4, W2, 1) == false);
    // }
    // if(((bit >> 20) & 0x00000001) == 0)
    // {
    //   while(sendCommand(K4, W3, 0) == false);
    // }
    // else
    // {
    //   while(sendCommand(K4, W3, 1) == false);
    // }
    // if(((bit >> 21) & 0x00000001) == 0)
    // {
    //   while(sendCommand(K4, W4, 0) == false);
    // }
    // else
    // {
    //   while(sendCommand(K4, W4, 1) == false);
    // }
    // if(((bit >> 22) & 0x00000001) == 0)
    // {
    //   while(sendCommand(K4, W5, 0) == false);
    // }
    // else
    // {
    //   while(sendCommand(K4, W5, 1) == false);
    // }
    // if(((bit >> 23) & 0x00000001) == 0)
    // {
    //   while(sendCommand(K4, W6, 0) == false);
    // }
    // else
    // {
    //   while(sendCommand(K4, W6, 1) == false);
    // }

    HAL_Delay(500);

    if(((bit >> 24) & 0x00000001) == 0) {Set_servo_xp(&servo_w_1, W1_S1);}
    else Set_servo_xp(&servo_w_1, W1_S2);

    if(((bit >> 25) & 0x00000001) == 0) {Set_servo_xp(&servo_w_2, W2_S1);}
    else Set_servo_xp(&servo_w_2, W2_S2);

    if(((bit >> 26) & 0x00000001) == 0) {Set_servo_xp(&servo_w_3, W3_S1);}
    else Set_servo_xp(&servo_w_3, W3_S2);

    if(((bit >> 27) & 0x00000001) == 0) {Set_servo_xp(&servo_w_4, W4_S1);}
    else Set_servo_xp(&servo_w_4, W4_S2);

    if(((bit >> 28) & 0x00000001) == 0) {Set_servo_xp(&servo_w_5, W5_S1);}
    else Set_servo_xp(&servo_w_5, W5_S2);

    if(((bit >> 29) & 0x00000001) == 0) {Set_servo_xp(&servo_w_6, W6_S1);}
    else Set_servo_xp(&servo_w_6, W6_S2);

    if( (i != 1) && (i != 2) && (i != 3) && (i != 4) &&
        (i != 5) && (i != 12) && (i != 19) && (i != 24) &&
        (i != 25) && (i != 32) && (i != 39) && (i != 47) &&
        (i != 52) && (i != 54) && (i != 59) && (i != 76) &&
        (i != 85) && (i != 88) && (i != 95))
    {
      HAL_Delay(250);
    }
    else if((i == 1) || (i == 2) || (i == 3) || (i == 4) || (i == 5) ||
            (i == 12) || (i == 19) || (i == 24) || (i == 25) || (i == 39) ||
            (i == 47) || (i == 52) || (i == 59) || (i == 76) || (i == 85) ||
            (i == 88) || (i == 95))
    {
      HAL_Delay(750);
    }
    else if((i == 32) || ( i == 54))
    {
      HAL_Delay(1250);
    }

    HAL_Delay(600);
  }
}

void playSong(const uint32_t* Song, uint32_t len)
{
  for(uint8_t i = 0; i < len; i++)
  {
    uint32_t bit = Song[i];
// check khoang 1
    if((bit & 0x0000001) == 0) Set_servo_xp(&servo_k_1_1, K1_W1_RELEASE);            // bit 1 trong not nhac
    else Set_servo_xp(&servo_k_1_1, K1_W1_PRESS);

    // if(((bit >> 1) & 0x00000001)) Set_servo_xp(&servo_k_1_2, K1_W2_RELEASE);
    // else Set_servo_xp(&servo_k_1_2, K1_W2_PRESS);

    if(((bit >> 2) & 0x00000001) == 0) Set_servo_xp(&servo_k_1_3, K1_W3_RELEASE);
    else Set_servo_xp(&servo_k_1_3, K1_W3_PRESS);

    // if(((bit >> 3) & 0x00000001)) Set_servo_xp(&servo_k_1_4, K1_W4_RELEASE);
    // else Set_servo_xp(&servo_k_1_4, K1_W4_PRESS);

    if(((bit >> 4) & 0x00000001) == 0) Set_servo_xp(&servo_k_1_5, K1_W5_RELEASE);
    else Set_servo_xp(&servo_k_1_5, K1_W5_PRESS);

    if(((bit >> 5) & 0x00000001) == 0) Set_servo_xp(&servo_k_1_6, K1_W6_RELEASE);
    else Set_servo_xp(&servo_k_1_6, K1_W6_PRESS);

    // check khoang 2
    if(((bit >> 6) & 0x00000001) == 0) Set_servo_xp(&servo_k_2_1, K2_W1_RELEASE);
    else Set_servo_xp(&servo_k_2_1, K2_W1_PRESS);

    if(((bit >> 7) & 0x00000001) == 0) Set_servo_xp(&servo_k_2_2, K2_W2_RELEASE);
    else Set_servo_xp(&servo_k_2_2, K2_W2_PRESS);

    // if(((bit >> 8) & 0x00000001)) Set_servo_xp(&servo_k_2_3, K2_W3_RELEASE);
    // else Set_servo_xp(&servo_k_2_3, K2_W3_PRESS);

    // if(((bit >> 9) & 0x00000001)) Set_servo_xp(&servo_k_2_4, K2_W4_RELEASE);
    // else Set_servo_xp(&servo_k_2_4, K2_W4_PRESS);

    if(((bit >> 10) & 0x00000001) == 0) Set_servo_xp(&servo_k_2_5, K2_W5_RELEASE);
    else Set_servo_xp(&servo_k_2_5, K2_W5_PRESS);

    // if(((bit >> 11) & 0x00000001)) Set_servo_xp(&servo_k_2_6, K2_W6_RELEASE);
    // else Set_servo_xp(&servo_k_2_6, K2_W6_PRESS);

    // check khoang 3
    if(((bit >> 12) & 0x00000001) == 0)
    {
      while(sendCommand(K3, W1, 0) == false);
    }
    else
    {
      while(sendCommand(K3, W1, 1) == false);
    }
    if(((bit >> 13) & 0x00000001) == 0)
    {
      while(sendCommand(K3, W2, 0) == false);
    }
    else
    {
      while(sendCommand(K3, W2, 1) == false);
    }
    if(((bit >> 14) & 0x00000001) == 0)
    {
      while(sendCommand(K3, W3, 0) == false);
    }
    else
    {
      while(sendCommand(K3, W3, 1) == false);
    }
    if(((bit >> 15) & 0x00000001) == 0)
    {
      while(sendCommand(K3, W4, 0) == false);
    }
    else
    {
      while(sendCommand(K3, W4, 1) == false);
    }
    if(((bit >> 16) & 0x00000001) == 0)
    {
      while(sendCommand(K3, W5, 0) == false);
    }
    else
    {
      while(sendCommand(K3, W5, 1) == false);
    }
    if(((bit >> 17) & 0x00000001) == 0)
    {
      while(sendCommand(K3, W6, 0) == false);
    }
    else
    {
      while(sendCommand(K3, W6, 1) == false);
    }

    // //check khoang 4
    // if(((bit >> 18) & 0x00000001) == 0)
    // {
    //   while(sendCommand(K4, W1, 0) == false);
    // }
    // else
    // {
    //   while(sendCommand(K4, W1, 1) == false);
    // }
    // if(((bit >> 19) & 0x00000001) == 0)
    // {
    //   while(sendCommand(K4, W2, 0) == false);
    // }
    // else
    // {
    //   while(sendCommand(K4, W2, 1) == false);
    // }
    // if(((bit >> 20) & 0x00000001) == 0)
    // {
    //   while(sendCommand(K4, W3, 0) == false);
    // }
    // else
    // {
    //   while(sendCommand(K4, W3, 1) == false);
    // }
    // if(((bit >> 21) & 0x00000001) == 0)
    // {
    //   while(sendCommand(K4, W4, 0) == false);
    // }
    // else
    // {
    //   while(sendCommand(K4, W4, 1) == false);
    // }
    // if(((bit >> 22) & 0x00000001) == 0)
    // {
    //   while(sendCommand(K4, W5, 0) == false);
    // }
    // else
    // {
    //   while(sendCommand(K4, W5, 1) == false);
    // }
    // if(((bit >> 23) & 0x00000001) == 0)
    // {
    //   while(sendCommand(K4, W6, 0) == false);
    // }
    // else
    // {
    //   while(sendCommand(K4, W6, 1) == false);
    // }

    HAL_Delay(500);

    if(((bit >> 24) & 0x00000001) == 0) {Set_servo_xp(&servo_w_1, W1_S1);}
    else Set_servo_xp(&servo_w_1, W1_S2);

    if(((bit >> 25) & 0x00000001) == 0) {Set_servo_xp(&servo_w_2, W2_S1);}
    else Set_servo_xp(&servo_w_2, W2_S2);

    if(((bit >> 26) & 0x00000001) == 0) {Set_servo_xp(&servo_w_3, W3_S1);}
    else Set_servo_xp(&servo_w_3, W3_S2);

    if(((bit >> 27) & 0x00000001) == 0) {Set_servo_xp(&servo_w_4, W4_S1);}
    else Set_servo_xp(&servo_w_4, W4_S2);

    if(((bit >> 28) & 0x00000001) == 0) {Set_servo_xp(&servo_w_5, W5_S1);}
    else Set_servo_xp(&servo_w_5, W5_S2);

    if(((bit >> 29) & 0x00000001) == 0) {Set_servo_xp(&servo_w_6, W6_S1);}
    else Set_servo_xp(&servo_w_6, W6_S2);

    HAL_Delay(500);
  }
}

/* USER CODE END 4 */

void HAL_TIM_PeriodElapsedCallback(TIM_HandleTypeDef *htim)
{
  if (htim->Instance == TIM6) {
    HAL_IncTick();
  }
}

void Error_Handler(void)
{
  __disable_irq();
  while (1)
  {
  }
}
